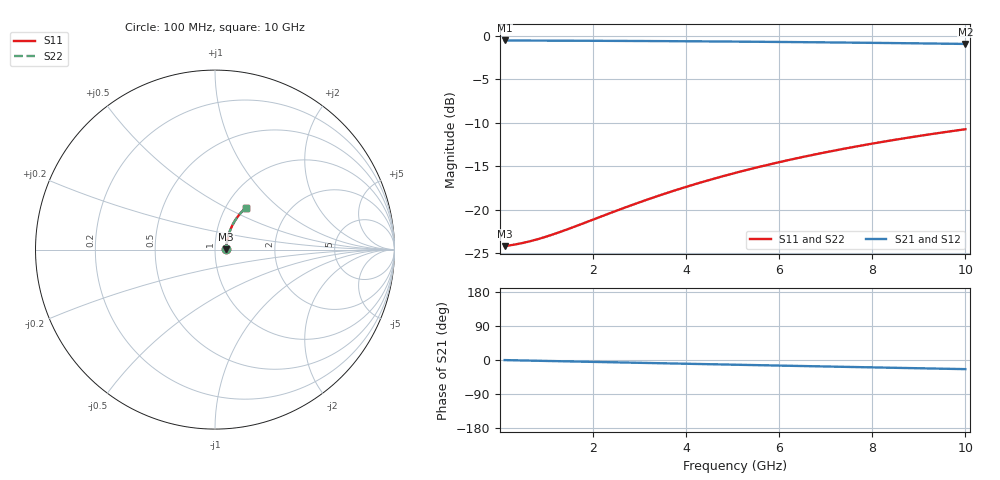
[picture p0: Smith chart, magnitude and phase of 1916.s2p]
# Hz S RI R 50.00
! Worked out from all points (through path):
!   100 points, 100 MHz to 10 GHz, reference 50 ohm
!   highest |S21| = -0.55 dB at 100 MHz (marker M1); lowest = -1.0 dB at 10 GHz (marker M2)
!   group delay of S21, straight-line fit = 6.71 ps
!   lowest |S11| = -24.2 dB at 100 MHz (marker M3), VSWR 1.13, Z = 56.6 + j0.312 ohm
!   |S11| at or under -10 dB: start of sweep to end of sweep
!   |S22| runs from -24.2 to -10.7 dB; largest |S21 - S12| = 0
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1e8  0.0619 0.00275  0.9381 -0.00407  0.9381 -0.00407  0.0619 0.00275
3e8  0.0626 0.00823  0.9374 -0.0122  0.9374 -0.0122  0.0626 0.00823
5e8  0.0632 0.0137  0.9368 -0.0203  0.9368 -0.0203  0.0632 0.0137
8e8  0.0641 0.0219  0.9358 -0.0325  0.9358 -0.0325  0.0641 0.0219
1e9  0.0648 0.0273  0.9351 -0.0405  0.9351 -0.0405  0.0648 0.0273
1.2e9  0.0655 0.0327  0.9343 -0.0486  0.9343 -0.0486  0.0655 0.0327
1.5e9  0.0668 0.0409  0.933 -0.0607  0.933 -0.0607  0.0668 0.0409
1.8e9  0.0682 0.0489  0.9315 -0.0727  0.9315 -0.0727  0.0682 0.0489
2.7e9  0.0735 0.0728  0.9259 -0.1085  0.9259 -0.1085  0.0735 0.0728
3.1e9  0.0764 0.0833  0.9227 -0.1242  0.9227 -0.1242  0.0764 0.0833
3.4e9  0.0788 0.091  0.9202 -0.136  0.9202 -0.136  0.0788 0.091
3.8e9  0.0823 0.1012  0.9164 -0.1515  0.9164 -0.1515  0.0823 0.1012
4.2e9  0.0861 0.1113  0.9123 -0.1668  0.9123 -0.1668  0.0861 0.1113
4.6e9  0.0902 0.1212  0.9078 -0.182  0.9078 -0.182  0.0902 0.1212
5.1e9  0.0958 0.1333  0.9018 -0.2007  0.9018 -0.2007  0.0958 0.1333
5.5e9  0.1007 0.1428  0.8966 -0.2155  0.8966 -0.2155  0.1007 0.1428
5.9e9  0.1058 0.152  0.891 -0.2301  0.891 -0.2301  0.1058 0.152
6.7e9  0.1169 0.1699  0.879 -0.2586  0.879 -0.2586  0.1169 0.1699
7.5e9  0.1291 0.1869  0.8658 -0.2862  0.8658 -0.2862  0.1291 0.1869
8.4e9  0.1439 0.2048  0.8496 -0.3161  0.8496 -0.3161  0.1439 0.2048
9.2e9  0.158 0.2195  0.8342 -0.3415  0.8342 -0.3415  0.158 0.2195
1e10  0.1729 0.2332  0.8179 -0.3659  0.8179 -0.3659  0.1729 0.2332
